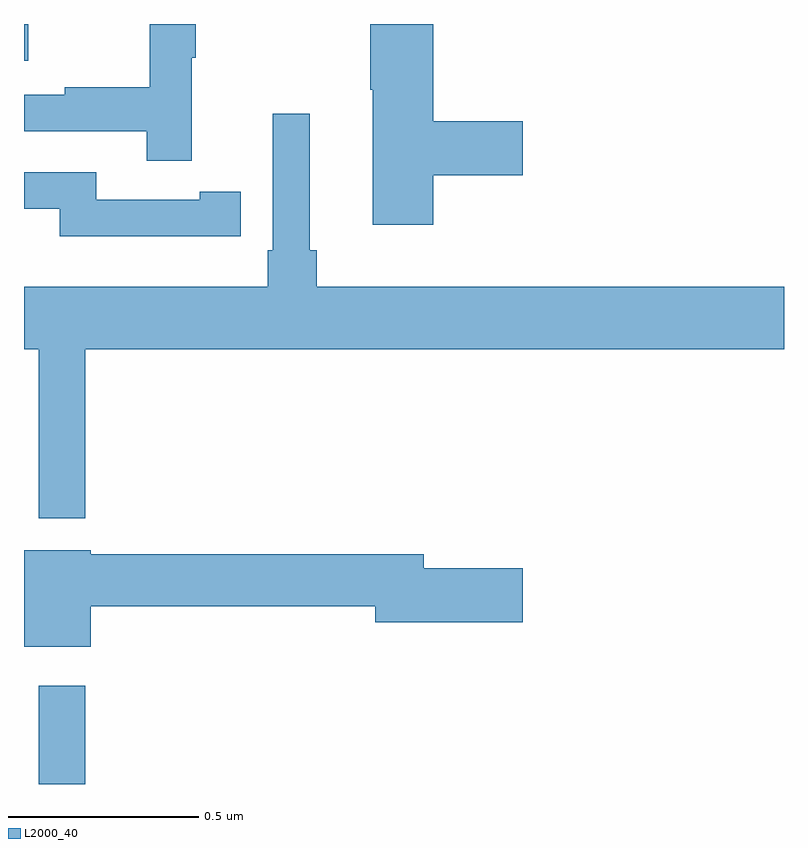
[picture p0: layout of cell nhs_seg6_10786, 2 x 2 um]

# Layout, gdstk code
import gdstk
lib = gdstk.Library(unit=1e-6, precision=1e-09)
def R(c, l, rs):  # rectangles x0, y0, x1, y1
    for r in rs: c.add(gdstk.rectangle(r[:2], r[2:], *l))
def P(c, l, *ps):  # polygons
    for p in ps: c.add(gdstk.Polygon(p, *l))
L2000_40 = (2000, 40)

nhs_seg6_10786 = lib.new_cell('nhs_seg6_10786')
R(nhs_seg6_10786, L2000_40, [(251.039,971.5,251.161,971.758), (251,973.403,251.011,973.5)])
P(nhs_seg6_10786, L2000_40, [(251.441,973.411),(251.452,973.411),(251.452,973.5),(251.331,973.5),(251.331,973.334),(251.107,973.334),(251.107,973.314),(251,973.314),(251,973.218),(251.323,973.218),(251.323,973.14),(251.441,973.14)],
  [(252.077,973.102),(252.313,973.102),(252.313,973.244),(252.077,973.244),(252.077,973.5),(251.911,973.5),(251.911,973.327),(251.918,973.327),(251.918,972.972),(252.077,972.972)],
  [(251.161,972.644),(253,972.644),(253,972.808),(251.771,972.808),(251.771,972.904),(251.752,972.904),(251.752,973.264),(251.655,973.264),(251.655,972.904),(251.642,972.904),(251.642,972.808),(251,972.808),(251,972.644),(251.039,972.644),(251.039,972.2),(251.161,972.2)],
  [(251.462,972.942),(251.57,972.942),(251.57,973.058),(251.462,973.058),(251.462,973.038),(251.19,973.038),(251.19,973.11),(251,973.11),(251,973.014),(251.094,973.014),(251.094,972.941),(251.462,972.941)],
  [(251.176,971.968),(251.924,971.968),(251.924,971.926),(252.313,971.926),(252.313,972.068),(252.052,972.068),(252.052,972.104),(251.176,972.104),(251.176,972.115),(251,972.115),(251,971.861),(251.176,971.861)])

lib.write_gds('nhs_seg6_10786.gds')
